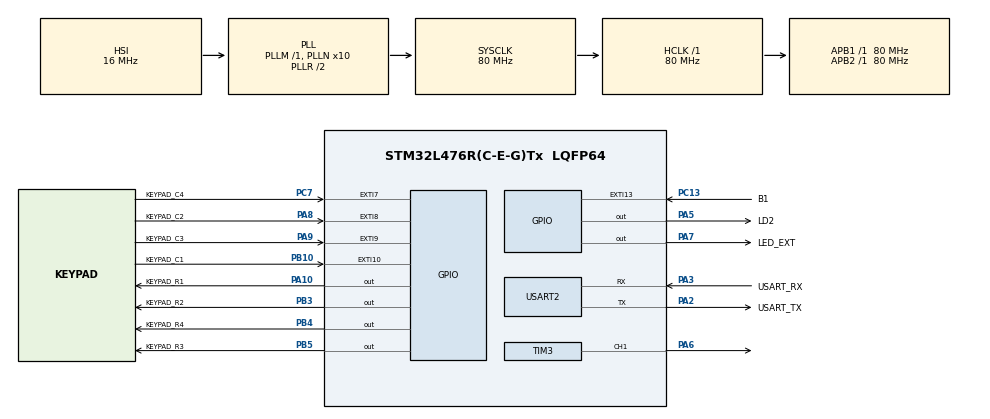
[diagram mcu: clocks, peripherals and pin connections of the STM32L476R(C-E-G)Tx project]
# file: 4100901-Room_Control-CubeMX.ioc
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Mcu.Family=STM32L4
Mcu.Name=STM32L476R(C-E-G)Tx
Mcu.Package=LQFP64
NVIC.EXTI15_10_IRQn=true\:4\:0\:true\:false\:true\:true\:true\:true
NVIC.EXTI9_5_IRQn=true\:4\:0\:true\:false\:true\:true\:true\:true
NVIC.PriorityGroup=NVIC_PRIORITYGROUP_4
NVIC.USART2_IRQn=true\:4\:0\:true\:false\:true\:true\:true\:true
PA10.GPIO_Label=KEYPAD_R1
PA10.Signal=GPIO_Output
PA13\ (JTMS-SWDIO).GPIO_Label=TMS
PA13\ (JTMS-SWDIO).Mode=Serial_Wire
PA13\ (JTMS-SWDIO).Signal=SYS_JTMS-SWDIO
PA14\ (JTCK-SWCLK).GPIO_Label=TCK
PA14\ (JTCK-SWCLK).Mode=Serial_Wire
PA14\ (JTCK-SWCLK).Signal=SYS_JTCK-SWCLK
PA2.GPIO_Label=USART_TX
PA2.GPIO_Mode=GPIO_MODE_AF_PP
PA2.GPIO_PuPd=GPIO_NOPULL
PA2.GPIO_Speed=GPIO_SPEED_FREQ_VERY_HIGH
PA2.Mode=Asynchronous
PA2.Signal=USART2_TX
PA3.GPIO_Label=USART_RX
PA3.GPIO_Mode=GPIO_MODE_AF_PP
PA3.GPIO_PuPd=GPIO_NOPULL
PA3.GPIO_Speed=GPIO_SPEED_FREQ_VERY_HIGH
PA3.Mode=Asynchronous
PA3.Signal=USART2_RX
PA5.GPIO_Label=LD2
PA5.Signal=GPIO_Output
PA6.Signal=S_TIM3_CH1
PA7.GPIO_Label=LED_EXT
PA7.Signal=GPIO_Output
PA8.GPIO_Label=KEYPAD_C2
PA8.GPIO_ModeDefaultEXTI=GPIO_MODE_IT_FALLING
PA8.GPIO_PuPd=GPIO_PULLUP
PA8.Signal=GPXTI8
PA9.GPIO_Label=KEYPAD_C3
PA9.GPIO_ModeDefaultEXTI=GPIO_MODE_IT_FALLING
PA9.GPIO_PuPd=GPIO_PULLUP
PA9.Signal=GPXTI9
PB10.GPIO_Label=KEYPAD_C1
PB10.GPIO_ModeDefaultEXTI=GPIO_MODE_IT_FALLING
PB10.GPIO_PuPd=GPIO_PULLUP
PB10.Signal=GPXTI10
PB3\ (JTDO-TRACESWO).GPIO_Label=KEYPAD_R2
PB3\ (JTDO-TRACESWO).Signal=GPIO_Output
PB4\ (NJTRST).GPIO_Label=KEYPAD_R4
PB4\ (NJTRST).Signal=GPIO_Output
PB5.GPIO_Label=KEYPAD_R3
PB5.Signal=GPIO_Output
PC13.GPIO_Label=B1
PC13.GPIO_ModeDefaultEXTI=GPIO_MODE_IT_FALLING
PC13.GPIO_PuPd=GPIO_NOPULL
PC13.Signal=GPXTI13
PC14-OSC32_IN\ (PC14).Mode=LSE-External-Oscillator
PC14-OSC32_IN\ (PC14).Signal=RCC_OSC32_IN
PC15-OSC32_OUT\ (PC15).Mode=LSE-External-Oscillator
PC15-OSC32_OUT\ (PC15).Signal=RCC_OSC32_OUT
PC7.GPIO_Label=KEYPAD_C4
PC7.GPIO_ModeDefaultEXTI=GPIO_MODE_IT_FALLING
PC7.GPIO_PuPd=GPIO_PULLUP
PC7.Signal=GPXTI7
PH0-OSC_IN\ (PH0).Signal=RCC_OSC_IN
PH1-OSC_OUT\ (PH1).Signal=RCC_OSC_OUT
ProjectManager.HeapSize=0x200
ProjectManager.StackSize=0x400
ProjectManager.TargetToolchain=CMake
RCC.ADCFreq_Value=64000000
RCC.AHBFreq_Value=80000000
RCC.APB1Freq_Value=80000000
RCC.APB1TimFreq_Value=80000000
RCC.APB2Freq_Value=80000000
RCC.APB2TimFreq_Value=80000000
RCC.CortexFreq_Value=80000000
RCC.HCLKFreq_Value=80000000
RCC.HSE_VALUE=8000000
RCC.HSI_VALUE=16000000
RCC.MSI_VALUE=4000000
RCC.PLLN=10
RCC.PLLSourceVirtual=RCC_PLLSOURCE_HSI
RCC.PREFETCH_ENABLE=1
RCC.SYSCLKFreq_VALUE=80000000
RCC.SYSCLKSource=RCC_SYSCLKSOURCE_PLLCLK
RCC.USBFreq_Value=64000000
RCC.VCOOutputFreq_Value=160000000
SH.S_TIM3_CH1.0=TIM3_CH1,PWM Generation1 CH1
TIM3.Channel-PWM\ Generation1\ CH1=TIM_CHANNEL_1
TIM3.Period=999
TIM3.Prescaler=79
USART2.VirtualMode-Asynchronous=VM_ASYNC
board=NUCLEO-L476RG

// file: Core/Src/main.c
/* USER CODE BEGIN Header */
/**
  **********
  * @file           : main.c
  * @brief          : Main program body
  **********
  * @attention
  *
  * Copyright (c) 2025 STMicroelectronics.
  * All rights reserved.
  *
  * This software is licensed under terms that can be found in the LICENSE file
  * in the root directory of this software component.
  * If no LICENSE file comes with this software, it is provided AS-IS.
  *
  **********
  */
/* USER CODE END Header */
#include "main.h"

/* USER CODE BEGIN Includes */
#include "led_driver.h"     // Driver para control de LEDs
#include "ring_buffer.h"    // Implementación del buffer circular
#include "keypad_driver.h"  // Driver para el teclado matricial
#include <stdio.h>          // Para funciones printf y comunicación serial
#include <string.h>         // Para funciones de manejo de strings como strncmp
/* USER CODE END Includes */

/* USER CODE BEGIN PD */
// --- CONFIGURACION DEL SISTEMA ---
#define PASSWORD "0102*" // Contraseña de 4 dígitos
#define PASSWORD_LEN 5  // Longitud de la contraseña
#define DEBOUNCE_TIME_MS 200      // Tiempo de debounce para las teclas, evita leer dos veces la misma tecla
#define FEEDBACK_LED_TIME_MS 100  // Tiempo que el LED se enciende al oprimir cualquier tecla
#define SUCCESS_LED_TIME_MS 4000  // Tiempo que el LED se enciende cuando se ingresa la contraseña correcta
/* USER CODE END PD */

TIM_HandleTypeDef htim3;

UART_HandleTypeDef huart2;

/* USER CODE BEGIN PV */

/**
 * @brief LED principal (LD2 en la Nucleo) ---
 * @note  Esta estructura se utiliza para controlar el LED integrado en la placa.
 * @param led1 Estructura que define el puerto y pin del LED.
 */
led_handle_t led1 = { .port = GPIOA, .pin = GPIO_PIN_5 }; // LD2
led_handle_t led_ext = { .port = GPIOA, .pin = GPIO_PIN_7 }; // LED externo en PA7

// Definir la conexión física del teclado matricial 4x4 - Le permite al driver saber dónde están conectadas las teclas
keypad_handle_t keypad = {
    // Puertos y pines para las filas del teclado
    .row_ports = {KEYPAD_R1_GPIO_Port, KEYPAD_R2_GPIO_Port, KEYPAD_R3_GPIO_Port, KEYPAD_R4_GPIO_Port},
    .row_pins  = {KEYPAD_R1_Pin, KEYPAD_R2_Pin, KEYPAD_R3_Pin, KEYPAD_R4_Pin},
    // Puertos y pines para las columnas del teclado
    .col_ports = {KEYPAD_C1_GPIO_Port, KEYPAD_C2_GPIO_Port, KEYPAD_C3_GPIO_Port, KEYPAD_C4_GPIO_Port},
    .col_pins  = {KEYPAD_C1_Pin, KEYPAD_C2_Pin, KEYPAD_C3_Pin, KEYPAD_C4_Pin}
};
//Se crea un buffer circular donde se almacenan las teclas presionadas
#define KEYPAD_BUFFER_LEN 16
uint8_t keypad_buffer[KEYPAD_BUFFER_LEN];
ring_buffer_t keypad_rb; //Permite leer y escribir sin perder datos cuando llegan varias teclas seguidas

// Guardar la contraseña ingresada e indica cuántos caracteres se han digitado
char entered_password[PASSWORD_LEN + 1] = {0};
uint8_t password_index = 0;

// VARIABLES DE TEMPORIZACION
uint32_t last_key_press_time = 0; // Tiempo de la última tecla procesada (para debounce)
uint32_t led_timer_start = 0; // Tiempo en que se encendió el LED
uint32_t led_on_duration = 0; // Duración que el LED debe permanecer encendido
/* USER CODE END PV */

void SystemClock_Config(void);
static void MX_GPIO_Init(void); //Inicializar pines de GPIO
static void MX_USART2_UART_Init(void);//Inicializar pines de USART2
static void MX_TIM3_Init(void);//Inicializar pines de TIM3
/* USER CODE BEGIN PFP */
void manage_led_timer(void); //Apaga los LEDs después de un tiempo
void process_key(uint8_t key);//Esta es la lógica principal al presionar una tecla
/* USER CODE END PFP */

/* USER CODE BEGIN 0 */
/**
  * @brief  Callback de la interrupción externa GPIO.
  * @note   Esta función se llama cuando se detecta un flanco en un pin configurado para interrupción.
  *         Se mantiene muy rápida: solo lee el teclado y guarda la tecla en un buffer.
  */
 //Se ejecuta cuando se presiona una tecla del keypad
void HAL_GPIO_EXTI_Callback(uint16_t GPIO_Pin)
{
    char key = keypad_scan(&keypad, GPIO_Pin); //Identifica cuál tecla fue la presionada
    if (key != '\0') {
        ring_buffer_write(&keypad_rb, (uint8_t)key);//Guarda la tecla en el buffer circular
    }
}

/**
 * @brief Procesa una tecla recibida del buffer del keypad.
 * @note  Contiene la lógica principal de la aplicación: feedback visual,
 *        almacenamiento de la contraseña y verificación.
 * @param key La tecla presionada a procesar.
 */
void process_key(uint8_t key)
{
    // Feedback visual inmediato al presionar cualquier tecla
    led_on(&led1);
    led_timer_start = HAL_GetTick();
    led_on_duration = FEEDBACK_LED_TIME_MS;

    // Almacenar el dígito ingresado
    if (password_index < PASSWORD_LEN) {
        entered_password[password_index++] = (char)key;
        printf("Tecla presionada: %c\r\n", key);
    }

    // Verificar si se ha ingresado la contraseña completa
    if (password_index == PASSWORD_LEN) {
        if (strncmp(entered_password, PASSWORD, PASSWORD_LEN) == 0) {
            printf("Contraseña correcta. Paso autorizado.\r\n");
            // Encender el LED para indicar éxito
            led_on(&led1);
            led_on(&led_ext);
            HAL_TIM_PWM_Start(&htim3, TIM_CHANNEL_1); // Iniciar PWM para efecto de luz
            for (int i = 0; i <= 999; i++) {
              __HAL_TIM_SET_COMPARE(&htim3, TIM_CHANNEL_1, i);
              HAL_Delay(5);  // Controla la velocidad de cambio de brillo
            }
            HAL_TIM_PWM_Stop(&htim3, TIM_CHANNEL_1); // Detener PWM después del efecto
            led_timer_start = HAL_GetTick();
            led_on_duration = SUCCESS_LED_TIME_MS;
        } else {
            printf("Contraseña incorrecta. Intente nuevamente\r\n");
           // Apagar el LED para indicar fallo
            led_off(&led1);
            led_off(&led_ext);
            HAL_TIM_PWM_Stop(&htim3, TIM_CHANNEL_1); // Detener PWM
        }

        // Reiniciar para el próximo intento
        password_index = 0;
        memset(entered_password, 0, sizeof(entered_password));
        printf("\n Ingrese la contraseña de 4 digitos y un caracter especial.\r\n");
    }
}

/**
 * @brief Gestiona el apagado automático de los LEDs sin bloquear el programa.
 * @note  Esta función debe ser llamada repetidamente en el bucle principal.
 */
void manage_led_timer(void)

{
  // Manejo del temporizador del LED (no bloqueante)
    if (led_timer_start != 0 && (HAL_GetTick() - led_timer_start > led_on_duration)) {
      //// Apagar los LEDs después del tiempo definido
        led_off(&led1);
        led_off(&led_ext);
        led_timer_start = 0;
    }
}

/* USER CODE END 0 */

int main(void)
{

  /* MCU Configuration--------------------------------------------------------*/

  /* Reset of all peripherals, Initializes the Flash interface and the Systick. */
  HAL_Init();

  /* Configure the system clock */
  SystemClock_Config(); // Configura el reloj del sistema

  /* Initialize all configured peripherals */
  MX_GPIO_Init();
  MX_USART2_UART_Init();
  MX_TIM3_Init();
  /* USER CODE BEGIN 2 */
  // Inicialización de los drivers personalizados
  led_init(&led1);
  led_init(&led_ext);
  ring_buffer_init(&keypad_rb, keypad_buffer, KEYPAD_BUFFER_LEN);
  keypad_init(&keypad); // Configura las filas como entradas con pull-down y las columnas como salidas

  printf("El Sistema de Control se ha inicializado\r\n");
  printf("Ingrese la contraseña (4 dígitos y 1 caracter especial).\r\n");
  /* USER CODE END 2 */

  /* Infinite loop */
  /* USER CODE BEGIN WHILE */
  while (1)
  {
    uint8_t key_from_buffer;
  /** * @brief Procesa las teclas del buffer con anti-rebote.
    * @note  Esta sección lee las teclas del buffer y las procesa
    *        aplicando un tiempo de anti-rebote.
  */

    if (ring_buffer_read(&keypad_rb, &key_from_buffer)) { //Corazón del programa: leer tecla del buffer
        uint32_t now = HAL_GetTick();
        // Procesar la tecla si ha pasado el tiempo de anti-rebote.
        if (now - last_key_press_time > DEBOUNCE_TIME_MS) {
            last_key_press_time = now;
            process_key(key_from_buffer);
        }
    }

    /**
     * @brief Gestiona el temporizador del LED (no bloqueante).
      * @note  Esta función apaga los LEDs después de un tiempo definido sin bloquear el programa.
      */
    manage_led_timer();

    /* USER CODE END WHILE */

  }
}

void SystemClock_Config(void) //Configura el reloj del sistema
{
  RCC_OscInitTypeDef RCC_OscInitStruct = {0};
  RCC_ClkInitTypeDef RCC_ClkInitStruct = {0};

  /** Configure the main internal regulator output voltage
  */
  if (HAL_PWREx_ControlVoltageScaling(PWR_REGULATOR_VOLTAGE_SCALE1) != HAL_OK)
  {
    Error_Handler();
  }

  /** Initializes the RCC Oscillators according to the specified parameters
  * in the RCC_OscInitTypeDef structure.
  */
  RCC_OscInitStruct.OscillatorType = RCC_OSCILLATORTYPE_HSI;
  RCC_OscInitStruct.HSIState = RCC_HSI_ON;
  RCC_OscInitStruct.HSICalibrationValue = RCC_HSICALIBRATION_DEFAULT;
  RCC_OscInitStruct.PLL.PLLState = RCC_PLL_ON;
  RCC_OscInitStruct.PLL.PLLSource = RCC_PLLSOURCE_HSI;
  RCC_OscInitStruct.PLL.PLLM = 1;
  RCC_OscInitStruct.PLL.PLLN = 10;
  RCC_OscInitStruct.PLL.PLLP = RCC_PLLP_DIV7;
  RCC_OscInitStruct.PLL.PLLQ = RCC_PLLQ_DIV2;
  RCC_OscInitStruct.PLL.PLLR = RCC_PLLR_DIV2;
  if (HAL_RCC_OscConfig(&RCC_OscInitStruct) != HAL_OK)
  {
    Error_Handler();
  }

  /** Initializes the CPU, AHB and APB buses clocks
  */
  RCC_ClkInitStruct.ClockType = RCC_CLOCKTYPE_HCLK|RCC_CLOCKTYPE_SYSCLK
                              |RCC_CLOCKTYPE_PCLK1|RCC_CLOCKTYPE_PCLK2;
  RCC_ClkInitStruct.SYSCLKSource = RCC_SYSCLKSOURCE_PLLCLK;
  RCC_ClkInitStruct.AHBCLKDivider = RCC_SYSCLK_DIV1;
  RCC_ClkInitStruct.APB1CLKDivider = RCC_HCLK_DIV1;
  RCC_ClkInitStruct.APB2CLKDivider = RCC_HCLK_DIV1;

  if (HAL_RCC_ClockConfig(&RCC_ClkInitStruct, FLASH_LATENCY_4) != HAL_OK)
  {
    Error_Handler();
  }
}

static void MX_TIM3_Init(void)
{

  TIM_MasterConfigTypeDef sMasterConfig = {0};
  TIM_OC_InitTypeDef sConfigOC = {0};

  htim3.Instance = TIM3;
  htim3.Init.Prescaler = 79;
  htim3.Init.CounterMode = TIM_COUNTERMODE_UP;
  htim3.Init.Period = 999;
  htim3.Init.ClockDivision = TIM_CLOCKDIVISION_DIV1;
  htim3.Init.AutoReloadPreload = TIM_AUTORELOAD_PRELOAD_DISABLE;
  if (HAL_TIM_PWM_Init(&htim3) != HAL_OK)
  {
    Error_Handler();
  }
  sMasterConfig.MasterOutputTrigger = TIM_TRGO_RESET;
  sMasterConfig.MasterSlaveMode = TIM_MASTERSLAVEMODE_DISABLE;
  if (HAL_TIMEx_MasterConfigSynchronization(&htim3, &sMasterConfig) != HAL_OK)
  {
    Error_Handler();
  }
  sConfigOC.OCMode = TIM_OCMODE_PWM1;
  sConfigOC.Pulse = 0;
  sConfigOC.OCPolarity = TIM_OCPOLARITY_HIGH;
  sConfigOC.OCFastMode = TIM_OCFAST_DISABLE;
  if (HAL_TIM_PWM_ConfigChannel(&htim3, &sConfigOC, TIM_CHANNEL_1) != HAL_OK)
  {
    Error_Handler();
  }
  HAL_TIM_MspPostInit(&htim3);

}

static void MX_USART2_UART_Init(void)
{

  huart2.Instance = USART2;
  huart2.Init.BaudRate = 115200;
  huart2.Init.WordLength = UART_WORDLENGTH_8B;
  huart2.Init.StopBits = UART_STOPBITS_1;
  huart2.Init.Parity = UART_PARITY_NONE;
  huart2.Init.Mode = UART_MODE_TX_RX;
  huart2.Init.HwFlowCtl = UART_HWCONTROL_NONE;
  huart2.Init.OverSampling = UART_OVERSAMPLING_16;
  huart2.Init.OneBitSampling = UART_ONE_BIT_SAMPLE_DISABLE;
  huart2.AdvancedInit.AdvFeatureInit = UART_ADVFEATURE_NO_INIT;
  if (HAL_UART_Init(&huart2) != HAL_OK)
  {
    Error_Handler();
  }
  /* USER CODE BEGIN USART2_Init 2 */
  #ifdef GNUC
    setvbuf(stdout, NULL, _IONBF, 0);
  #endif
  /* USER CODE END USART2_Init 2 */

}

static void MX_GPIO_Init(void)
{
  GPIO_InitTypeDef GPIO_InitStruct = {0};

  /* GPIO Ports Clock Enable */
  __HAL_RCC_GPIOC_CLK_ENABLE();
  __HAL_RCC_GPIOH_CLK_ENABLE();
  __HAL_RCC_GPIOA_CLK_ENABLE();
  __HAL_RCC_GPIOB_CLK_ENABLE();

  /*Configure GPIO pin Output Level */
  HAL_GPIO_WritePin(GPIOA, LD2_Pin|LED_EXT_Pin|KEYPAD_R1_Pin, GPIO_PIN_RESET);

  /*Configure GPIO pin Output Level */
  HAL_GPIO_WritePin(GPIOB, KEYPAD_R2_Pin|KEYPAD_R4_Pin|KEYPAD_R3_Pin, GPIO_PIN_RESET);

  /*Configure GPIO pin : B1_Pin */
  GPIO_InitStruct.Pin = B1_Pin;
  GPIO_InitStruct.Mode = GPIO_MODE_IT_FALLING;
  GPIO_InitStruct.Pull = GPIO_NOPULL;
  HAL_GPIO_Init(B1_GPIO_Port, &GPIO_InitStruct);

  /*Configure GPIO pins : LD2_Pin LED_EXT_Pin KEYPAD_R1_Pin */
  GPIO_InitStruct.Pin = LD2_Pin|LED_EXT_Pin|KEYPAD_R1_Pin;
  GPIO_InitStruct.Mode = GPIO_MODE_OUTPUT_PP;
  GPIO_InitStruct.Pull = GPIO_NOPULL;
  GPIO_InitStruct.Speed = GPIO_SPEED_FREQ_LOW;
  HAL_GPIO_Init(GPIOA, &GPIO_InitStruct);

  /*Configure GPIO pin : KEYPAD_C1_Pin */
  GPIO_InitStruct.Pin = KEYPAD_C1_Pin;
  GPIO_InitStruct.Mode = GPIO_MODE_IT_FALLING;
  GPIO_InitStruct.Pull = GPIO_PULLUP;
  HAL_GPIO_Init(KEYPAD_C1_GPIO_Port, &GPIO_InitStruct);

  /*Configure GPIO pin : KEYPAD_C4_Pin */
  GPIO_InitStruct.Pin = KEYPAD_C4_Pin;
  GPIO_InitStruct.Mode = GPIO_MODE_IT_FALLING;
  GPIO_InitStruct.Pull = GPIO_PULLUP;
  HAL_GPIO_Init(KEYPAD_C4_GPIO_Port, &GPIO_InitStruct);

  /*Configure GPIO pins : KEYPAD_C2_Pin KEYPAD_C3_Pin */
  GPIO_InitStruct.Pin = KEYPAD_C2_Pin|KEYPAD_C3_Pin;
  GPIO_InitStruct.Mode = GPIO_MODE_IT_FALLING;
  GPIO_InitStruct.Pull = GPIO_PULLUP;
  HAL_GPIO_Init(GPIOA, &GPIO_InitStruct);

  /*Configure GPIO pins : KEYPAD_R2_Pin KEYPAD_R4_Pin KEYPAD_R3_Pin */
  GPIO_InitStruct.Pin = KEYPAD_R2_Pin|KEYPAD_R4_Pin|KEYPAD_R3_Pin;
  GPIO_InitStruct.Mode = GPIO_MODE_OUTPUT_PP;
  GPIO_InitStruct.Pull = GPIO_NOPULL;
  GPIO_InitStruct.Speed = GPIO_SPEED_FREQ_LOW;
  HAL_GPIO_Init(GPIOB, &GPIO_InitStruct);

  /* EXTI interrupt init*/
  HAL_NVIC_SetPriority(EXTI9_5_IRQn, 4, 0);
  HAL_NVIC_EnableIRQ(EXTI9_5_IRQn);

  HAL_NVIC_SetPriority(EXTI15_10_IRQn, 4, 0);
  HAL_NVIC_EnableIRQ(EXTI15_10_IRQn);

}

/* USER CODE BEGIN 4 */
// Sobrescribir la función _write para redirigir printf a la UART
/**
*@brief Redirige la salida de printf a través de UART.
 @param file Descriptor de archivo (no usado).
 @param ptr Puntero a los datos a enviar.
 @param len Longitud de los datos.
 @return Número de bytes enviados.
 */
int _write(int file, char *ptr, int len)
{
    HAL_UART_Transmit(&huart2, (uint8_t*)ptr, len, HAL_MAX_DELAY);
    return len;
}
/* USER CODE END 4 */

void Error_Handler(void)
{
  __disable_irq();
  while (1)
  {
  }
}
